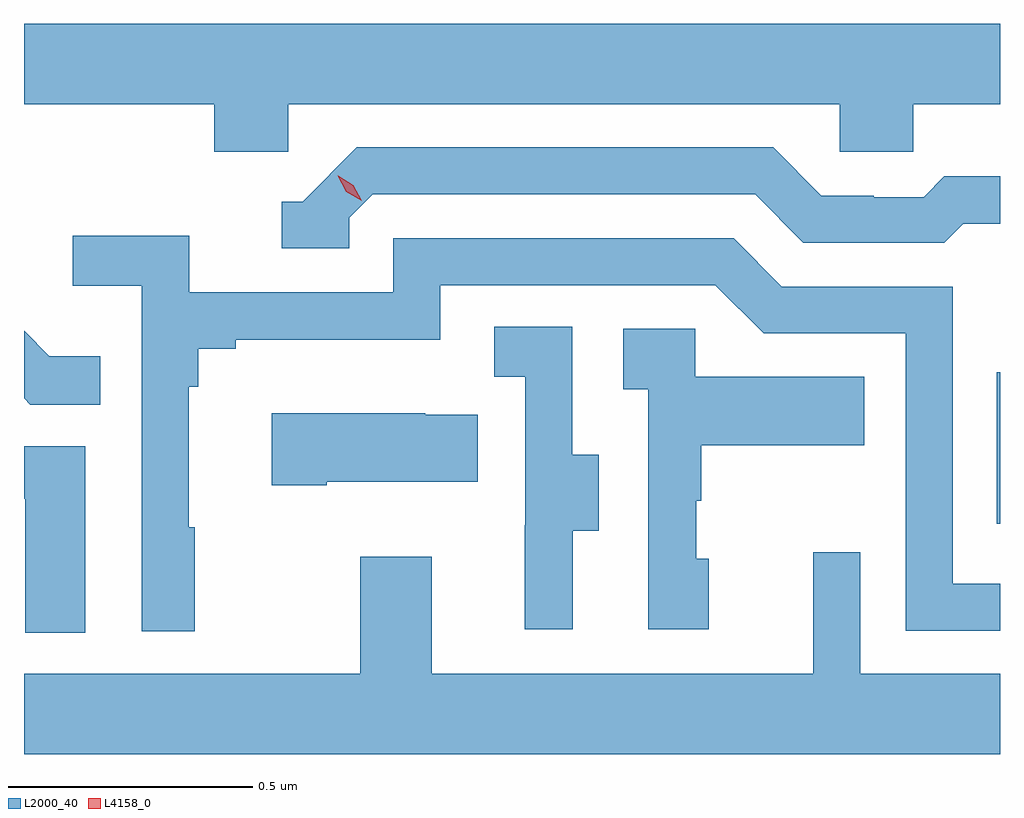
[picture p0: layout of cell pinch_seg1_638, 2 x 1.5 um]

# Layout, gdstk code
import gdstk
lib = gdstk.Library(unit=1e-6, precision=1e-09)
def R(c, l, rs):  # rectangles x0, y0, x1, y1
    for r in rs: c.add(gdstk.rectangle(r[:2], r[2:], *l))
def P(c, l, *ps):  # polygons
    for p in ps: c.add(gdstk.Polygon(p, *l))
L2000_40 = (2000, 40)
L4158_0 = (4158, 0)

pinch_seg1_638 = lib.new_cell('pinch_seg1_638')
R(pinch_seg1_638, L2000_40, [(1129.278,516.24,1129.285,516.55)])
P(pinch_seg1_638, L2000_40, [(1127.826,517.1),(1128.957,517.1),(1128.957,517.002),(1129.107,517.002),(1129.107,517.1),(1129.285,517.1),(1129.285,517.264),(1127.285,517.264),(1127.285,517.1),(1127.675,517.1),(1127.675,517.002),(1127.826,517.002)],
  [(1127.952,516.867),(1128,516.915),(1128.783,516.915),(1128.882,516.816),(1129.171,516.816),(1129.21,516.855),(1129.285,516.855),(1129.285,516.952),(1129.171,516.952),(1129.129,516.909),(1129.026,516.909),(1129.026,516.912),(1128.919,516.912),(1128.82,517.011),(1127.967,517.011),(1127.856,516.9),(1127.813,516.9),(1127.813,516.804),(1127.952,516.804)],
  [(1127.635,516.233),(1127.623,516.233),(1127.623,516.521),(1127.642,516.521),(1127.642,516.598),(1127.719,516.598),(1127.719,516.617),(1128.138,516.617),(1128.138,516.729),(1128.702,516.729),(1128.801,516.63),(1129.092,516.63),(1129.092,516.021),(1129.285,516.021),(1129.285,516.117),(1129.188,516.117),(1129.188,516.726),(1128.838,516.726),(1128.739,516.825),(1128.042,516.825),(1128.042,516.714),(1127.624,516.714),(1127.624,516.83),(1127.385,516.83),(1127.385,516.728),(1127.526,516.728),(1127.526,516.02),(1127.635,516.02)],
  [(1128.409,516.226),(1128.463,516.226),(1128.463,516.381),(1128.408,516.381),(1128.408,516.644),(1128.249,516.644),(1128.249,516.541),(1128.312,516.541),(1128.312,516.237),(1128.311,516.237),(1128.311,516.024),(1128.409,516.024)],
  [(1128.688,516.168),(1128.663,516.168),(1128.663,516.287),(1128.673,516.287),(1128.673,516.401),(1129.007,516.401),(1129.007,516.541),(1128.66,516.541),(1128.66,516.639),(1128.513,516.639),(1128.513,516.515),(1128.564,516.515),(1128.564,516.024),(1128.688,516.024)],
  [(1127.441,516.583),(1127.337,516.583),(1127.285,516.635),(1127.285,516.497),(1127.298,516.484),(1127.441,516.484)],
  [(1127.905,516.326),(1128.215,516.326),(1128.215,516.463),(1128.107,516.463),(1128.107,516.466),(1127.793,516.466),(1127.793,516.319),(1127.905,516.319)],
  [(1127.41,516.399),(1127.285,516.399),(1127.285,516.291),(1127.288,516.291),(1127.288,516.017),(1127.41,516.017)],
  [(1129.285,515.932),(1128.999,515.932),(1128.999,516.181),(1128.902,516.181),(1128.902,515.932),(1128.121,515.932),(1128.121,516.172),(1127.974,516.172),(1127.974,515.932),(1127.285,515.932),(1127.285,515.768),(1129.285,515.768)])
P(pinch_seg1_638, L4158_0, [(1127.977,516.902),(1127.945,516.92),(1127.928,516.953),(1127.928,516.953),(1127.929,516.953),(1127.96,516.934),(1127.977,516.902),(1127.977,516.902)])

lib.write_gds('pinch_seg1_638.gds')
